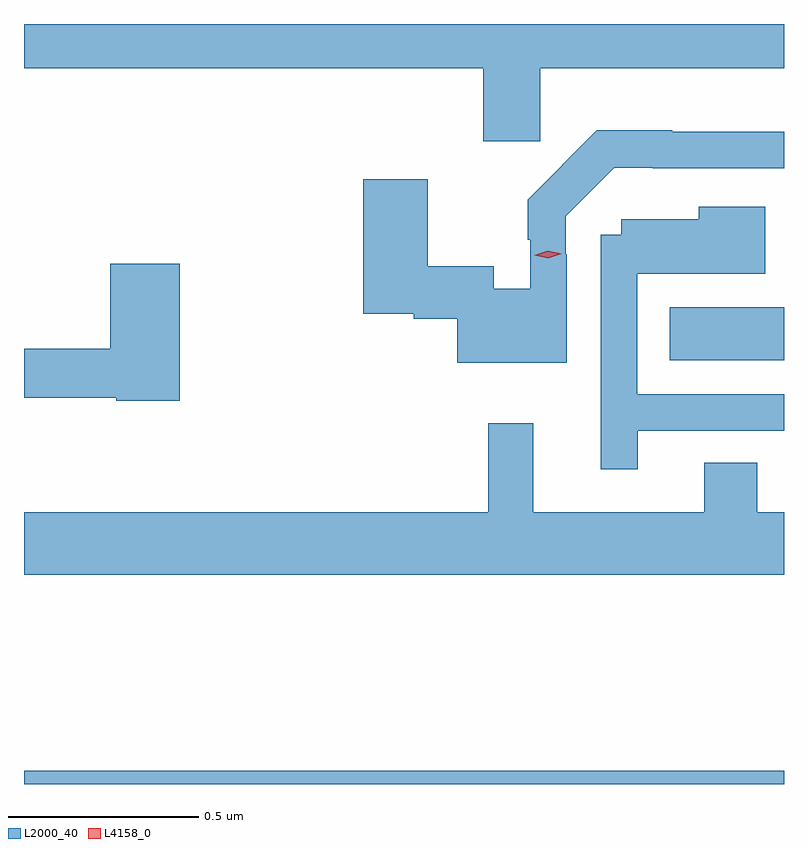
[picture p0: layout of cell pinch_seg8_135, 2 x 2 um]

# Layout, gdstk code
import gdstk
lib = gdstk.Library(unit=1e-6, precision=1e-09)
def R(c, l, rs):  # rectangles x0, y0, x1, y1
    for r in rs: c.add(gdstk.rectangle(r[:2], r[2:], *l))
def P(c, l, *ps):  # polygons
    for p in ps: c.add(gdstk.Polygon(p, *l))
L2000_40 = (2000, 40)
L4158_0 = (4158, 0)

pinch_seg8_135 = lib.new_cell('pinch_seg8_135')
R(pinch_seg8_135, L2000_40, [(843.759,1151.913,845.759,1151.948), (845.458,1153.028,845.759,1153.168)])
P(pinch_seg8_135, L2000_40, [(845.117,1153.796),(845.759,1153.796),(845.759,1153.913),(843.759,1153.913),(843.759,1153.796),(844.967,1153.796),(844.967,1153.605),(845.117,1153.605)],
  [(845.187,1153.307),(845.184,1153.307),(845.184,1153.407),(845.312,1153.535),(845.413,1153.535),(845.413,1153.533),(845.759,1153.533),(845.759,1153.63),(845.465,1153.63),(845.465,1153.633),(845.266,1153.633),(845.084,1153.45),(845.084,1153.345),(845.091,1153.345),(845.091,1153.216),(844.995,1153.216),(844.995,1153.276),(844.822,1153.276),(844.822,1153.504),(844.652,1153.504),(844.652,1153.151),(844.785,1153.151),(844.785,1153.137),(844.899,1153.137),(844.899,1153.022),(845.187,1153.022)],
  [(845.374,1152.843),(845.759,1152.843),(845.759,1152.939),(845.373,1152.939),(845.373,1153.256),(845.71,1153.256),(845.71,1153.432),(845.534,1153.432),(845.534,1153.399),(845.331,1153.399),(845.331,1153.359),(845.277,1153.359),(845.277,1152.741),(845.374,1152.741)],
  [(844.169,1153.282),(843.986,1153.282),(843.986,1153.058),(843.759,1153.058),(843.759,1152.93),(844.002,1152.93),(844.002,1152.922),(844.169,1152.922)],
  [(845.759,1152.628),(845.689,1152.628),(845.689,1152.758),(845.549,1152.758),(845.549,1152.628),(845.099,1152.628),(845.099,1152.862),(844.981,1152.862),(844.981,1152.628),(843.759,1152.628),(843.759,1152.464),(845.759,1152.464)])
P(pinch_seg8_135, L4158_0, [(845.138,1153.296),(845.102,1153.304),(845.102,1153.304),(845.102,1153.304),(845.137,1153.316),(845.174,1153.308),(845.174,1153.308),(845.174,1153.308)])

lib.write_gds('pinch_seg8_135.gds')
